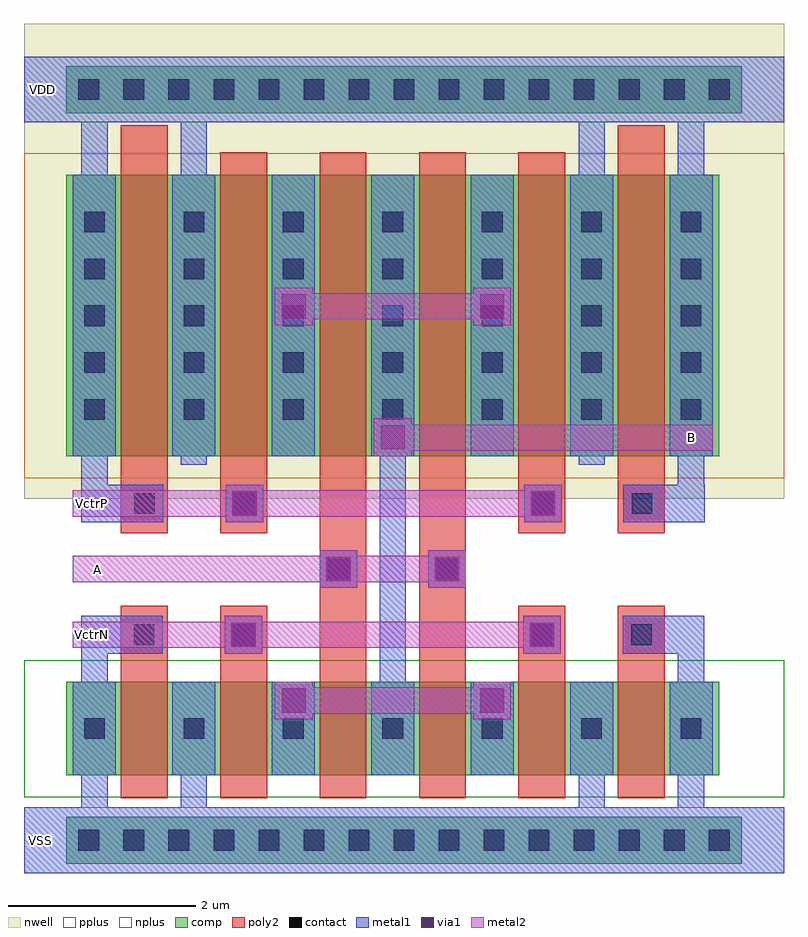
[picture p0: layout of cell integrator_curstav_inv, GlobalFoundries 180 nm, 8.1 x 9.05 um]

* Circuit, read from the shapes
.subckt integrator_curstav_inv A B VDD VSS VctrN VctrP
XM1 VSS VSS VSS VSS nfet_03v3 w=1u l=0.5u m=2
XM2 n1 VctrN VSS VSS nfet_03v3 w=1u l=0.5u m=2
XM3 B A n1 VSS nfet_03v3 w=1u l=0.5u m=2
XM4 VDD VDD VDD VDD pfet_03v3 w=3u l=0.5u m=2
XM5 n2 VctrP VDD VDD pfet_03v3 w=3u l=0.5u m=2
XM6 B A n2 VDD pfet_03v3 w=3u l=0.5u m=2
.ends

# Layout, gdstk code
import gdstk
lib = gdstk.Library(unit=1e-6, precision=5e-09)
def R(c, l, rs):  # rectangles x0, y0, x1, y1
    for r in rs: c.add(gdstk.rectangle(r[:2], r[2:], *l))
def A(c, l, x, y, w, h, nx, ny, dx, dy):  # array of equal rectangles
    R(c, l, [(x+i*dx, y+j*dy, x+i*dx+w, y+j*dy+h) for i in range(nx) for j in range(ny)])
nwell = (21, 0)
comp = (22, 0)
poly2 = (30, 0)
pplus = (31, 0)
nplus = (32, 0)
contact = (33, 0)
metal1 = (34, 0)
via1 = (35, 0)
metal2 = (36, 0)

via_dev_2 = lib.new_cell('via_dev$2')
R(via_dev_2, poly2, [(0,0,0.4,0.4)])
R(via_dev_2, contact, [(0.09,0.09,0.31,0.31)])
R(via_dev_2, metal1, [(0,0,0.4,0.4)])

via_dev_1 = lib.new_cell('via_dev$1')
R(via_dev_1, metal1, [(0,0,0.4,0.4)])
R(via_dev_1, via1, [(0.07,0.07,0.33,0.33)])
R(via_dev_1, metal2, [(0,0,0.4,0.4)])

via_dev = lib.new_cell('via_dev')
R(via_dev, poly2, [(0,0,0.4,0.4)])
R(via_dev, contact, [(0.09,0.09,0.31,0.31)])
R(via_dev, metal1, [(0,0,0.4,0.4)])
R(via_dev, via1, [(0.07,0.07,0.33,0.33)])
R(via_dev, metal2, [(0,0,0.4,0.4)])

std_nfet_2nf_l0d5 = lib.new_cell('std_nfet_2nf_L0d5')
R(std_nfet_2nf_l0d5, comp, [(-1.36,-0.5,1.36,0.5)])
R(std_nfet_2nf_l0d5, poly2, [(-0.78,-0.74,-0.28,0.74), (0.28,-0.74,0.78,0.74)])
R(std_nfet_2nf_l0d5, nplus, [(-1.59,-0.73,1.59,0.73)])
A(std_nfet_2nf_l0d5, contact, -1.17, -0.11, 0.22, 0.22, 3, 1, 1.06, 0)
A(std_nfet_2nf_l0d5, metal1, -1.29, -0.5, 0.46, 1, 3, 1, 1.06, 0)
A(std_nfet_2nf_l0d5, metal1, -1.29, -0.23, 0.46, 0.46, 3, 1, 1.06, 0)

std_nfet_l0d5 = lib.new_cell('std_nfet_L0d5')
R(std_nfet_l0d5, comp, [(-0.83,-0.5,0.83,0.5)])
R(std_nfet_l0d5, poly2, [(-0.25,-0.74,0.25,0.74)])
R(std_nfet_l0d5, nplus, [(-1.06,-0.73,1.06,0.73)])
R(std_nfet_l0d5, contact, [(-0.64,-0.11,-0.42,0.11), (0.42,-0.11,0.64,0.11)])
R(std_nfet_l0d5, metal1, [(-0.76,-0.5,-0.3,0.5), (0.3,-0.5,0.76,0.5), (-0.76,-0.23,-0.3,0.23), (0.3,-0.23,0.76,0.23)])

std_pfet_2nf_l0d5 = lib.new_cell('std_pfet_2nf_L0d5')
R(std_pfet_2nf_l0d5, nwell, [(-1.71,-1.86,1.71,1.86)])
R(std_pfet_2nf_l0d5, comp, [(-1.36,-1.5,1.36,1.5)])
R(std_pfet_2nf_l0d5, poly2, [(-0.78,-1.74,-0.28,1.74), (0.28,-1.74,0.78,1.74)])
R(std_pfet_2nf_l0d5, pplus, [(-1.59,-1.73,1.59,1.73)])
A(std_pfet_2nf_l0d5, contact, -1.17, -1.11, 0.22, 0.22, 3, 5, 1.06, 0.5)
A(std_pfet_2nf_l0d5, metal1, -1.29, -1.5, 0.46, 3, 3, 1, 1.06, 0)
A(std_pfet_2nf_l0d5, metal1, -1.29, -1.23, 0.46, 0.46, 3, 5, 1.06, 0.5)

std_pfet_l0d5 = lib.new_cell('std_pfet_L0d5')
R(std_pfet_l0d5, nwell, [(-1.18,-1.86,1.18,1.86)])
R(std_pfet_l0d5, comp, [(-0.83,-1.5,0.83,1.5)])
R(std_pfet_l0d5, poly2, [(-0.25,-1.74,0.25,1.74)])
R(std_pfet_l0d5, pplus, [(-1.06,-1.73,1.06,1.73)])
A(std_pfet_l0d5, contact, -0.64, -1.11, 0.22, 0.22, 1, 5, 0, 0.5)
A(std_pfet_l0d5, contact, 0.42, -1.11, 0.22, 0.22, 1, 5, 0, 0.5)
A(std_pfet_l0d5, metal1, -0.76, -1.23, 0.46, 0.46, 1, 5, 0, 0.5)
A(std_pfet_l0d5, metal1, 0.3, -1.23, 0.46, 0.46, 1, 5, 0, 0.5)
R(std_pfet_l0d5, metal1, [(-0.76,-1.5,-0.3,1.5), (0.3,-1.5,0.76,1.5)])

std_cell_frame = lib.new_cell('std_cell_frame')
R(std_cell_frame, nwell, [(0,3.99,3.78,9.05)])
R(std_cell_frame, comp, [(0.45,0.1,3.33,0.6), (0.45,8.1,3.33,8.6)])
R(std_cell_frame, pplus, [(0,0,3.78,0.7), (0,4.21,3.78,7.67)])
R(std_cell_frame, nplus, [(0,0.81,3.78,2.27), (0,8,3.78,8.7)])
A(std_cell_frame, contact, 0.58, 0.24, 0.22, 0.22, 6, 2, 0.48, 8)
std_cell_frame.add(gdstk.FlexPath([(0,0.35),(3.78,0.35)], 0.7, ends="flush", simple_path=True, layer=34, datatype=0))  # metal1
std_cell_frame.add(gdstk.FlexPath([(0,8.35),(3.78,8.35)], 0.7, ends="flush", simple_path=True, layer=34, datatype=0))  # metal1

integrator_curstav_inv = lib.new_cell('integrator_curstav_inv')
integrator_curstav_inv.add(gdstk.FlexPath([(0.61,2.54),(1.48,2.54)], 0.4, ends="flush", simple_path=True, layer=34, datatype=0))  # metal1
integrator_curstav_inv.add(gdstk.FlexPath([(6.38,2.54),(7.25,2.54)], 0.4, ends="flush", simple_path=True, layer=34, datatype=0))  # metal1
integrator_curstav_inv.add(gdstk.FlexPath([(0.61,3.94),(1.48,3.94)], 0.4, ends="flush", simple_path=True, layer=34, datatype=0))  # metal1
integrator_curstav_inv.add(gdstk.FlexPath([(6.385,3.94),(7.255,3.94)], 0.4, ends="flush", simple_path=True, layer=34, datatype=0))  # metal1
integrator_curstav_inv.add(gdstk.FlexPath([(1.81,2.04),(1.81,0)], 0.28, ends="flush", simple_path=True, layer=34, datatype=0))  # metal1
integrator_curstav_inv.add(gdstk.FlexPath([(6.05,2.04),(6.05,0)], 0.28, ends="flush", simple_path=True, layer=34, datatype=0))  # metal1
integrator_curstav_inv.add(gdstk.FlexPath([(0.75,2.74),(0.75,0)], 0.28, ends="flush", simple_path=True, layer=34, datatype=0))  # metal1
integrator_curstav_inv.add(gdstk.FlexPath([(7.11,2.74),(7.11,0)], 0.28, ends="flush", simple_path=True, layer=34, datatype=0))  # metal1
integrator_curstav_inv.add(gdstk.FlexPath([(3.93,7.35),(3.93,1.04)], 0.28, ends="flush", simple_path=True, layer=34, datatype=0))  # metal1
integrator_curstav_inv.add(gdstk.FlexPath([(0.75,8.7),(0.75,3.74)], 0.28, ends="flush", simple_path=True, layer=34, datatype=0))  # metal1
integrator_curstav_inv.add(gdstk.FlexPath([(7.11,8.7),(7.11,3.74)], 0.28, ends="flush", simple_path=True, layer=34, datatype=0))  # metal1
integrator_curstav_inv.add(gdstk.FlexPath([(1.81,8.7),(1.81,4.35)], 0.28, ends="flush", simple_path=True, layer=34, datatype=0))  # metal1
integrator_curstav_inv.add(gdstk.FlexPath([(6.05,8.7),(6.05,4.35)], 0.28, ends="flush", simple_path=True, layer=34, datatype=0))  # metal1
integrator_curstav_inv.add(gdstk.FlexPath([(1.28,7.97),(1.28,4.2)], 0.5, ends="flush", simple_path=True, layer=30, datatype=0))  # poly2
integrator_curstav_inv.add(gdstk.FlexPath([(6.58,7.97),(6.58,4.2)], 0.5, ends="flush", simple_path=True, layer=30, datatype=0))  # poly2
integrator_curstav_inv.add(gdstk.FlexPath([(1.28,7.59),(1.28,3.62)], 0.5, ends="flush", simple_path=True, layer=30, datatype=0))  # poly2
integrator_curstav_inv.add(gdstk.FlexPath([(2.34,7.59),(2.34,3.62)], 0.5, ends="flush", simple_path=True, layer=30, datatype=0))  # poly2
integrator_curstav_inv.add(gdstk.FlexPath([(5.52,7.59),(5.52,3.62)], 0.5, ends="flush", simple_path=True, layer=30, datatype=0))  # poly2
integrator_curstav_inv.add(gdstk.FlexPath([(6.58,7.59),(6.58,3.62)], 0.5, ends="flush", simple_path=True, layer=30, datatype=0))  # poly2
integrator_curstav_inv.add(gdstk.FlexPath([(1.28,2.85),(1.28,0.8)], 0.5, ends="flush", simple_path=True, layer=30, datatype=0))  # poly2
integrator_curstav_inv.add(gdstk.FlexPath([(2.34,2.85),(2.34,0.8)], 0.5, ends="flush", simple_path=True, layer=30, datatype=0))  # poly2
integrator_curstav_inv.add(gdstk.FlexPath([(5.52,2.85),(5.52,0.8)], 0.5, ends="flush", simple_path=True, layer=30, datatype=0))  # poly2
integrator_curstav_inv.add(gdstk.FlexPath([(6.58,2.85),(6.58,0.8)], 0.5, ends="flush", simple_path=True, layer=30, datatype=0))  # poly2
integrator_curstav_inv.add(gdstk.FlexPath([(3.4,7.59),(3.4,0.8)], 0.5, ends="flush", simple_path=True, layer=30, datatype=0))  # poly2
integrator_curstav_inv.add(gdstk.FlexPath([(4.46,7.59),(4.46,0.8)], 0.5, ends="flush", simple_path=True, layer=30, datatype=0))  # poly2
integrator_curstav_inv.add(gdstk.FlexPath([(0.52,3.94),(5.73,3.94)], 0.28, ends="flush", simple_path=True, layer=36, datatype=0))  # metal2
integrator_curstav_inv.add(gdstk.FlexPath([(2.675,1.84),(5.19,1.84)], 0.28, ends="flush", simple_path=True, layer=36, datatype=0))  # metal2
integrator_curstav_inv.add(gdstk.FlexPath([(2.675,6.04),(5.19,6.04)], 0.28, ends="flush", simple_path=True, layer=36, datatype=0))  # metal2
integrator_curstav_inv.add(gdstk.FlexPath([(0.52,3.24),(4.71,3.24)], 0.28, ends="flush", simple_path=True, layer=36, datatype=0))  # metal2
integrator_curstav_inv.add(gdstk.FlexPath([(3.73,4.64),(7.34,4.64)], 0.28, ends="flush", simple_path=True, layer=36, datatype=0))  # metal2
integrator_curstav_inv.add(gdstk.FlexPath([(0.52,2.54),(5.72,2.54)], 0.28, ends="flush", simple_path=True, layer=36, datatype=0))  # metal2
integrator_curstav_inv.add(gdstk.Reference(via_dev_2, (1.08,2.34)))
integrator_curstav_inv.add(gdstk.Reference(via_dev_2, (6.38,2.34)))
integrator_curstav_inv.add(gdstk.Reference(via_dev_2, (1.085,3.74)))
integrator_curstav_inv.add(gdstk.Reference(via_dev_2, (6.385,3.74)))
integrator_curstav_inv.add(gdstk.Reference(via_dev_1, (2.675,1.64)))
integrator_curstav_inv.add(gdstk.Reference(via_dev_1, (4.79,1.64)))
integrator_curstav_inv.add(gdstk.Reference(via_dev_1, (3.73,4.445)))
integrator_curstav_inv.add(gdstk.Reference(via_dev_1, (2.675,5.84)))
integrator_curstav_inv.add(gdstk.Reference(via_dev_1, (4.79,5.84)))
integrator_curstav_inv.add(gdstk.Reference(via_dev, (2.14,2.34)))
integrator_curstav_inv.add(gdstk.Reference(via_dev, (5.32,2.34)))
integrator_curstav_inv.add(gdstk.Reference(via_dev, (3.15,3.04)))
integrator_curstav_inv.add(gdstk.Reference(via_dev, (4.31,3.04)))
integrator_curstav_inv.add(gdstk.Reference(via_dev, (2.15,3.74)))
integrator_curstav_inv.add(gdstk.Reference(via_dev, (5.33,3.74)))
integrator_curstav_inv.add(gdstk.Reference(std_nfet_2nf_l0d5, (2.87,1.54)))
integrator_curstav_inv.add(gdstk.Reference(std_nfet_2nf_l0d5, (4.99,1.54)))
integrator_curstav_inv.add(gdstk.Reference(std_nfet_l0d5, (1.28,1.54)))
integrator_curstav_inv.add(gdstk.Reference(std_nfet_l0d5, (6.58,1.54)))
integrator_curstav_inv.add(gdstk.Reference(std_pfet_2nf_l0d5, (2.87,5.94)))
integrator_curstav_inv.add(gdstk.Reference(std_pfet_2nf_l0d5, (4.99,5.94)))
integrator_curstav_inv.add(gdstk.Reference(std_pfet_l0d5, (1.28,5.94)))
integrator_curstav_inv.add(gdstk.Reference(std_pfet_l0d5, (6.58,5.94)))
integrator_curstav_inv.add(gdstk.Reference(std_cell_frame, (0,0)))
integrator_curstav_inv.add(gdstk.Reference(std_cell_frame, (2.4,0)))
integrator_curstav_inv.add(gdstk.Reference(std_cell_frame, (4.32,0)))
integrator_curstav_inv.add(gdstk.Label('VctrN', (0.72,2.54), layer=36, texttype=10))
integrator_curstav_inv.add(gdstk.Label('VctrP', (0.72,3.94), layer=36, texttype=10))
integrator_curstav_inv.add(gdstk.Label('B', (7.11,4.64), layer=36, texttype=10))
integrator_curstav_inv.add(gdstk.Label('A', (0.785,3.24), layer=36, texttype=10))
integrator_curstav_inv.add(gdstk.Label('VSS', (0.18,0.35), layer=34, texttype=10))
integrator_curstav_inv.add(gdstk.Label('VDD', (0.2,8.35), layer=34, texttype=10))

lib.write_gds('integrator_curstav_inv.gds')
